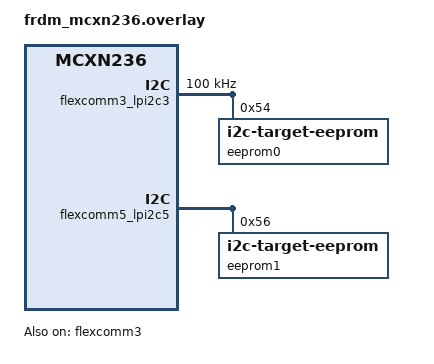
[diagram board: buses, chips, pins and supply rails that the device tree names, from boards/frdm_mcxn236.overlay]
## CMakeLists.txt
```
# SPDX-License-Identifier: Apache-2.0

cmake_minimum_required(VERSION 3.20.0)

set(BOARD_FLASH_RUNNER jlink)
set(BOARD_DEBUG_RUNNER jlink)

#set(ZEPHYR_MODULES ..)
find_package(Zephyr REQUIRED HINTS $ENV{ZEPHYR_BASE})

project(app LANGUAGES C)

target_sources(app PRIVATE src/main.c)
```

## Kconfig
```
# Copyright (c) 2024 Justin Simon
# SPDX-License-Identifier: Apache-2.0

menu "Zephyr"
source "Kconfig.zephyr"
endmenu

module = I2C_TARGET_APP
module-str = i2cTarget
source "subsys/logging/Kconfig.template.log_config"

#source "app/common/Kconfig"

config I2C_TARGET_APP_BOOT_BANNER
	bool "uExerciser boot banner"
	default y if BOOT_BANNER
	select PRINTK
	help
	  Print the firmware version during boot up.

config I2C_TARGET_APP_USB_MANUFACTURER
	string "USB device manufacturer string"
	default "uExerciser"
	help
	  USB device manufacturer string.

config I2C_TARGET_APP_USB_PRODUCT
	string "USB device product string"
	default "USB to Serial IO adapter"
	help
	  USB product string.

config I2C_TARGET_APP_USB_VID
	hex "USB device Vendor ID (VID)"
	default 0x0955
	help
	  USB device Vendor ID (VID).

config I2C_TARGET_APP_USB_PID
	hex "USB device Product ID (PID)"
	default 0x1234
	help
	  USB device Product ID (PID).

config I2C_TARGET_APP_USB_MAX_POWER
	int "USB device maximum power"
	default 125
	range 0 250
	help
	  USB maximum current draw in milliampere (mA) divided by 2.
	  A value of 125 results in a maximum current draw value of 250 mA.

if USB_DEVICE_STACK

configdefault USB_DEVICE_MANUFACTURER
	default I2C_TARGET_APP_USB_MANUFACTURER

configdefault USB_DEVICE_PRODUCT
	default I2C_TARGET_APP_USB_PRODUCT

configdefault USB_DEVICE_VID
	default I2C_TARGET_APP_USB_VID

configdefault USB_DEVICE_PID
	default I2C_TARGET_APP_USB_PID

configdefault USB_MAX_POWER
	default I2C_TARGET_APP_USB_MAX_POWER

endif # USB_DEVICE_STACK
```

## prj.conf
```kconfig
# Copyright (c) 2024 Justin Simon
# SPDX-License-Identifier: Apache-2.0
#
# This file contains selected Kconfig options for the application.

CONFIG_LOG=y
CONFIG_LOG_CMDS=y

CONFIG_BOOT_BANNER=y
CONFIG_ZTEST=n

CONFIG_DEBUG=y
CONFIG_DEBUG_INFO=y
CONFIG_DEBUG_OPTIMIZATIONS=y
CONFIG_DEBUG_THREAD_INFO=y

CONFIG_USB_DEVICE_STACK=n
CONFIG_USB_DEVICE_STACK_NEXT=y

CONFIG_LOG_DEFAULT_LEVEL=2
CONFIG_LOG_OVERRIDE_LEVEL=0
CONFIG_LOG_MAX_LEVEL=4

#CONFIG_USBD_LOG_LEVEL_DBG=y
#CONFIG_UDC_DRIVER_LOG_LEVEL_DBG=y
#CONFIG_MICROEXERCISER_LOG_LEVEL_DBG=y
#CONFIG_I2C_LOG_LEVEL_DBG=y
# CONFIG_I2C_LOG_LEVEL_INF=y

CONFIG_TRACING=y

CONFIG_EXTRA_EXCEPTION_INFO=y

CONFIG_MAIN_STACK_SIZE=2048
CONFIG_USBD_THREAD_STACK_SIZE=2048

CONFIG_I2C=y
CONFIG_I2C_EEPROM_TARGET=y
CONFIG_I2C_TARGET=y

CONFIG_SHELL=y
CONFIG_I2C_SHELL=y
```

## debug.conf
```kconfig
# Copyright (c) 2024 Justin Simon
# SPDX-License-Identifier: Apache-2.0

CONFIG_ASSERT_ON_ERRORS=y
CONFIG_ASSERT=y
CONFIG_DEBUG_INFO=y
CONFIG_DEBUG_OPTIMIZATIONS=y
CONFIG_DEBUG_THREAD_INFO=y

# logging
CONFIG_LOG=y
CONFIG_APP_LOG_LEVEL_DBG=y
```

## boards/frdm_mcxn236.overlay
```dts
/*
 * Copyright 2024 Justin Simon
 *
 * SPDX-License-Identifier: Apache-2.0
 */
&pinctrl {
	pinmux_flexcomm3_lpi2c: pinmux_flexcomm3_lpi2c {
		group0 {
			pinmux = <FC3_P0_PIO1_0>,
					 <FC3_P1_PIO1_1>;
			slew-rate = "fast";
			drive-strength = "low";
			input-enable;
			bias-pull-up;
			drive-open-drain;
		};
	};
};

&flexcomm3 {
	status = "okay";
};

/* We cannot enable SPI and I2C on the same flexcomm */
&flexcomm3_lpspi3 {
	status = "disabled";
};

/* To test this sample, connect
 * LPI2C3 SCL(J2-12, P1_1/FC1_P1)    -->        LPI2C5 SCL(J2-20, P1_17/FC2_P1)
 * LPI2C3 SDA(J2-8, P1_0/FC1_P0)     -->        LPI2C5 SDA(J2-18, P1_16/FC2_P0)
 */
&flexcomm3_lpi2c3 {
	pinctrl-0 = <&pinmux_flexcomm3_lpi2c>;
	pinctrl-names = "default";
	clock-frequency = <I2C_BITRATE_STANDARD>;
	status = "okay";
	eeprom0: eeprom@54 {
		compatible = "zephyr,i2c-target-eeprom";
		reg = <0x54>;
		size = <1024>;
		address-width = <16>;
	};
};

&flexcomm5_lpi2c5 {
	eeprom1: eeprom@56 {
		compatible = "zephyr,i2c-target-eeprom";
		reg = <0x56>;
		size = <1024>;
		address-width = <16>;
	};
};
```

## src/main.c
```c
/*
 * Copyright (c) 2014 Justin Simon
 *
 * SPDX-License-Identifier: Apache-2.0
 */

#include <errno.h>
#include <string.h>

#include <zephyr/kernel.h>
#include <zephyr/device.h>
#include <zephyr/logging/log.h>
#include <stdio.h>
#include <zephyr/sys/byteorder.h>
#include <zephyr/sys/util.h>

#include <zephyr/drivers/i2c.h>
#include <zephyr/drivers/i2c/target/eeprom.h>
#include <zephyr/drivers/gpio.h>

#include "zephyr/app_version.h"

LOG_MODULE_REGISTER(main, CONFIG_I2C_TARGET_APP_LOG_LEVEL);

#define NODE_EP0 DT_NODELABEL(eeprom0)
#define NODE_EP1 DT_NODELABEL(eeprom1)

#define TEST_DATA_SIZE	20
static const uint8_t eeprom_0_data[TEST_DATA_SIZE] = "0123456789abcdefghij";
static const uint8_t eeprom_1_data[TEST_DATA_SIZE] = "jihgfedcba9876543210";


/* 1000 msec = 1 sec */
#define SLEEP_TIME_MS   1000

/* The devicetree node identifier for the "led0" alias. */
#define LED0_NODE DT_ALIAS(led0)

/*
 * A build error on this line means your board is unsupported.
 * See the sample documentation for information on how to fix this.
 */
static const struct gpio_dt_spec led = GPIO_DT_SPEC_GET(LED0_NODE, gpios);

int main(void)
{
    int ret;
    bool led_state = true;
    const struct device *const eeprom_0 = DEVICE_DT_GET(NODE_EP0);
    const struct device *const i2c_0 = DEVICE_DT_GET(DT_BUS(NODE_EP0));
    int addr_0 = DT_REG_ADDR(NODE_EP0);
    uint8_t addr_0_width = DT_PROP_OR(NODE_EP0, address_width, 8);
	const struct device *const eeprom_1 = DEVICE_DT_GET(NODE_EP1);
	const struct device *const i2c_1 = DEVICE_DT_GET(DT_BUS(NODE_EP1));
	int addr_1 = DT_REG_ADDR(NODE_EP1);
	uint8_t addr_1_width = DT_PROP_OR(NODE_EP1, address_width, 8);

#ifdef CONFIG_I2C_TARGET_APP_BOOT_BANNER
    printk("*** uExerciser firmware version " APP_VERSION_STRING " ***\n");
#endif /* CONFIG_I2C_TARGET_APP_BOOT_BANNER */

    LOG_DBG("Found EEPROM 0 on I2C bus device %s at addr %02x\n",
             i2c_0->name, addr_0);

    LOG_DBG("Found EEPROM 1 on I2C bus device %s at addr %02x\n",
		 i2c_1->name, addr_1);

    eeprom_target_program(eeprom_0, eeprom_0_data, TEST_DATA_SIZE);
    i2c_target_driver_register(eeprom_0);

    eeprom_target_program(eeprom_1, eeprom_1_data, TEST_DATA_SIZE);
    i2c_target_driver_register(eeprom_1);

    if (!gpio_is_ready_dt(&led)) {
        return 0;
    }

    ret = gpio_pin_configure_dt(&led, GPIO_OUTPUT_ACTIVE);
    if (ret < 0) {
        return 0;
    }

    LOG_DBG("DBG: system is up and running...\n");

    while (1) {
        ret = gpio_pin_toggle_dt(&led);
        if (ret < 0) {
            return 0;
        }

        led_state = !led_state;
        LOG_DBG("LED state: %s\n", led_state ? "ON" : "OFF");
        k_msleep(SLEEP_TIME_MS);
    }

    /* Detach EEPROM */
    ret = i2c_target_driver_unregister(eeprom_0);
//    zassert_equal(ret, 0, "Failed to unregister EEPROM 0");

    return 0;
}
```
